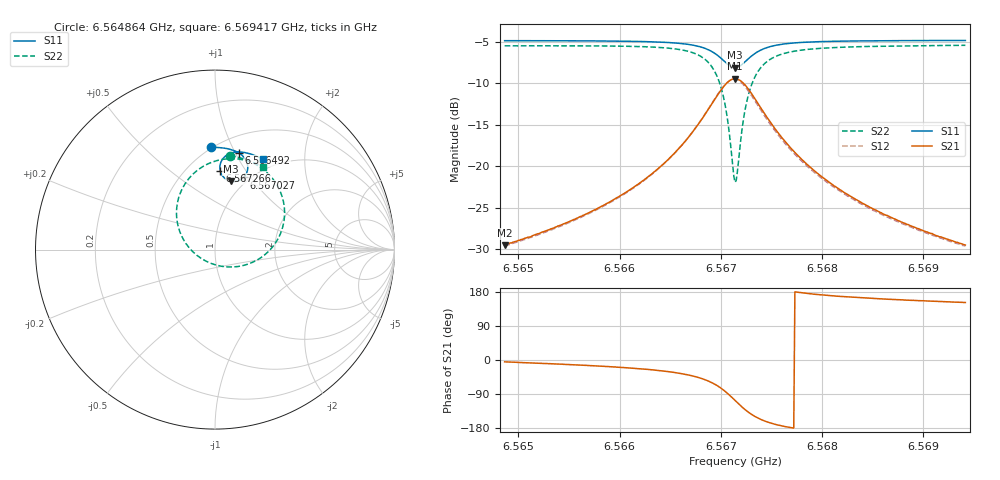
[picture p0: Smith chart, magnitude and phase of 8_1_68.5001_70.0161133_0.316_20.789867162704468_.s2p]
#  HZ  S  RI  R  50.00
! Rohde & Schwarz Vector Network Analyzer
! Rohde-Schwarz,ZNB20-2Port,1311601062101988,3.16
! Created: UTC 3/20/2024, 4:48:53 PM
! freq[Hz]  re:S11  im:S11  re:S21  im:S21  re:S12  im:S12  re:S22  im:S22
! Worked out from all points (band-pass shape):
!   401 points, 6.564864 GHz to 6.569417 GHz, reference 50 ohm
!   highest |S21| = -9.47 dB at 6.56714 GHz (marker M1); lowest = -29.5 dB at 6.564864 GHz (marker M2)
!   |S21| within 3 dB of the highest: 6.566913 GHz to 6.567368 GHz (455.4 kHz wide, 0.00693 % of centre)
!   lowest |S11| = -8.2 dB at 6.56714 GHz (marker M3), VSWR 2.28, Z = 43.3 + j38.9 ohm
!   |S11| at or under -10 dB: nowhere
!   |S22| runs from -21.9 to -5.4 dB; largest |S21 - S12| = 0.018
!   S11 on the Smith chart (normalised r, x): 6.564864 GHz: 0.49, +0.83; 6.566492 GHz: 0.67, +1.04; 6.567027 GHz: 0.94, +0.93; 6.567266 GHz: 0.71, +0.77; 6.569417 GHz: 0.85, +1.28
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6.5648637e9  -0.0218 0.569  0.0334 -0.00286  0.0328 -0.00334  0.0839 0.5235
6.5656264e9  0.0433 0.5664  0.0486 -0.0118  0.0479 -0.0124  0.1643 0.5038
6.566059e9  0.0846 0.5586  0.065 -0.0241  0.0641 -0.0248  0.2239 0.477
6.5663891e9  0.1211 0.5452  0.0863 -0.0455  0.0852 -0.0465  0.2856 0.4329
6.5664916e9  0.134 0.538  0.0956 -0.0575  0.0941 -0.0589  0.3092 0.4089
6.5666965e9  0.162 0.5138  0.1169 -0.0996  0.115 -0.1019  0.3623 0.3266
6.5668558e9  0.1807 0.4753  0.1258 -0.1681  0.1224 -0.1723  0.3876 0.1943
6.5669583e9  0.1788 0.434  0.1041 -0.2409  0.0968 -0.2461  0.3485 0.0557
6.5670266e9  0.1598 0.4021  0.0561 -0.2951  0.0442 -0.2991  0.2571 -0.0441
6.5670835e9  0.1282 0.3826  -0.0122 -0.3255  -0.0278 -0.325  0.1284 -0.0942
6.5671177e9  0.1039 0.3789  -0.0621 -0.3283  -0.0784 -0.3236  0.0373 -0.0931
6.5671404e9  0.0872 0.3809  -0.0957 -0.3221  -0.1116 -0.3143  -0.0223 -0.0768
6.5671632e9  0.0714 0.3864  -0.1276 -0.3089  -0.1422 -0.2985  -0.0773 -0.0488
6.5672201e9  0.0408 0.4124  -0.1884 -0.2553  -0.1972 -0.2407  -0.1756 0.0558
6.5672656e9  0.0293 0.4386  -0.213 -0.2036  -0.2168 -0.1886  -0.2097 0.1503
6.5673567e9  0.0319 0.4843  -0.215 -0.1156  -0.2128 -0.1042  -0.1976 0.3039
6.5674933e9  0.0595 0.5221  -0.1774 -0.0428  -0.1733 -0.0365  -0.117 0.4258
6.5676527e9  0.0918 0.5388  -0.1365 -0.00819  -0.133 -0.00493  -0.0327 0.4807
6.5679031e9  0.1308 0.5443  -0.096 0.00976  -0.0934 0.0113  0.056 0.5045
6.5682446e9  0.1705 0.5399  -0.0661 0.0157  -0.0645 0.0165  0.1309 0.5045
6.5686658e9  0.2098 0.5291  -0.0468 0.0168  -0.0456 0.0172  0.1919 0.4924
6.5694171e9  0.269 0.5038  -0.0295 0.0159  -0.0288 0.016  0.2675 0.4621
